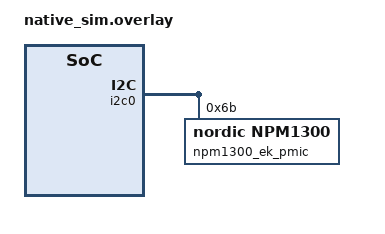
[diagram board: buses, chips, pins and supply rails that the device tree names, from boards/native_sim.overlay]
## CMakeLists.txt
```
# SPDX-License-Identifier: Apache-2.0

cmake_minimum_required(VERSION 3.20.0)

find_package(Zephyr REQUIRED HINTS $ENV{ZEPHYR_BASE})

project(sensor_pmic_tests)

target_include_directories(app PRIVATE 
    ${CMAKE_CURRENT_SOURCE_DIR}/../../../app/include
    ${CMAKE_CURRENT_SOURCE_DIR}/fakes
)

target_sources(app PRIVATE src/main.c
    ${CMAKE_CURRENT_SOURCE_DIR}/../../../app/src/sensor_pmic.c
    ${CMAKE_CURRENT_SOURCE_DIR}/fakes/sensor_led_fakes.c
)
```

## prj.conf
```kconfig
CONFIG_ZTEST=y
CONFIG_EMUL=y
CONFIG_LED=y
# CONFIG_CHARGER=y
CONFIG_SENSOR=y
CONFIG_I2C=y
CONFIG_I2C_EMUL=y
```

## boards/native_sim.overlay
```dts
/*
* Copyright (C) 2023 Nordic Semiconductor ASA
* SPDX-License-Identifier: Apache-2.0
*/

#include <dt-bindings/regulator/npm1300.h>
#include <zephyr/dt-bindings/input/input-event-codes.h>

&i2c0 {
    compatible = "zephyr,i2c-emul-controller";
    status = "okay";  // Enable the I2C1 interface
    // pinctrl-0 = <&i2c0_default>;
    // pinctrl-1 = <&i2c0_sleep>;
    // pinctrl-names = "default", "sleep";
    
    npm1300_ek_pmic: pmic@6b {

        compatible = "nordic,npm1300";
        // compatible = "vnd,emul-tester";

        reg = <0x6b>;
       
        long-press-reset = "one-button";
        // ship-to-active-time = <96>;

        npm1300_ek_gpio: gpio-controller {
            compatible = "nordic,npm1300-gpio";
            gpio-controller;
            #gpio-cells = <2>;
            ngpios = <5>;

            // npm1300_button: button {
            //     compatible = "gpio-keys";
            //     button0 {
            //         gpios = <&npm1300_ek_gpio 0 (GPIO_PULL_UP | GPIO_ACTIVE_LOW)>;
            //         label = "NPM1300 Button";
            //     };
            // };
        };

       npm1300_ek_regulators: regulators {
           compatible = "nordic,npm1300-regulator";

            npm1300_ek_buck1: BUCK1 {
                // regulator-min-microvolt = <1000000>;
                // regulator-max-microvolt = <3300000>;
                // regulator-init-microvolt =  <3000000>;
                // retention-microvolt = <1200000>;
                regulator-initial-mode = <NPM1300_BUCK_MODE_AUTO>;
                /delete-property/ enable-gpios;
                /delete-property/ retention-gpios;
                /delete-property/ pwm-gpios;
                /delete-property/ regulator-init-microvolt;
                regulator-boot-off;

            };

            npm1300_ek_buck2: BUCK2 {
                // regulator-min-microvolt = <1000000>;
                // regulator-max-microvolt = <3300000>;
                // regulator-init-microvolt =  <3300000>;
                // retention-microvolt = <1800000>;
                regulator-initial-mode = <NPM1300_BUCK_MODE_AUTO>;
                regulator-always-on;
                /delete-property/ enable-gpios;
                /delete-property/ retention-gpios;
                /delete-property/ pwm-gpios;
                /delete-property/ regulator-init-microvolt;

            };

            npm1300_ek_ldo1: LDO1 {
                // regulator-min-microvolt = <1000000>;
                // regulator-max-microvolt = <3300000>;
                // regulator-init-microvolt = <3300000>;
                regulator-initial-mode = <NPM1300_LDSW_MODE_LDO>;
                // soft-start-microamp = <10000>;
                /delete-property/ enable-gpios;
                /delete-property/ regulator-init-microvolt;
                regulator-boot-off;
            };

            npm1300_ek_ldo2: LDO2 {
                // regulator-min-microvolt = <1000000>;
                // regulator-max-microvolt = <3300000>;
                // regulator-init-microvolt = <3300000>;
                regulator-initial-mode = <NPM1300_LDSW_MODE_LDO>;
                // soft-start-microamp = <10000>;
                regulator-boot-off;
                /delete-property/ enable-gpios;
                /delete-property/ regulator-init-microvolt;
            };

       };
       
        npm1300_ek_charger: charger {
            compatible = "nordic,npm1300-charger";
            
            term-microvolt = <4200000>;
            term-warm-microvolt = <3600000>;
            // term-current-percent = <10>;
            current-microamp = <500000>;
            // trickle-microvolt = <2900000>;
            dischg-limit-microamp = <1000000>;
            vbus-limit-microamp = <500000>;
            thermistor-ohms = <10000>;
            thermistor-beta = <3380>;
        };
       
        npm1300_ek_leds: leds {
            compatible = "nordic,npm1300-led";
            // compatible = "vnd,emul-tester";
            nordic,led0-mode = "error";    
            nordic,led1-mode = "charging";    
            nordic,led2-mode = "host";
        };
   };
};
```

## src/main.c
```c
#include <zephyr/ztest.h>
#include <zephyr/logging/log.h>
#include "sensor_pmic.h"
#include "sensor_led_fakes.h"

LOG_MODULE_REGISTER(tests_pmic, LOG_LEVEL_INF);

// Create mock operations with wrapper functions
sensor_pmic_ops_t mock_ops = {
    .led_on = led_on_wrapper,
    .led_off = led_off_wrapper,
    .device_is_ready = device_is_ready_wrapper,
    .sensor_status_get = sensor_status_get_wrapper
};

ZTEST_SUITE(pmic, NULL, NULL, NULL, NULL, NULL);

/**
 * @brief Test that the PMIC can be initialized
 * 
 */
ZTEST(pmic, test_pmic_init)
{

    int ret = sensor_pmic_init_with_ops(&mock_ops);
    zassert_ok(ret, "Failed to initialize PMIC");
}

/**
 * @brief Test that the PMIC can turn on the LED
 * 
 */
ZTEST(pmic, test_pmic_led_on)
{
    int ret = sensor_pmic_init_with_ops(&mock_ops);
    zassert_ok(ret, "Failed to initialize PMIC");

    ret = sensor_pmic_led_on();
    zassert_ok(ret, "Failed to turn on LED");
}

/**
 * @brief Test that the PMIC can turn off the LED
 * 
 */
ZTEST(pmic, test_pmic_led_off)
{
    int ret = sensor_pmic_init_with_ops(&mock_ops);
    zassert_ok(ret, "Failed to initialize PMIC");

    ret = sensor_pmic_led_off();
    zassert_ok(ret, "Failed to turn off LED");
}

ZTEST(pmic, test_pmic_sensor_attr_get)
{
    int ret = sensor_pmic_init_with_ops(&mock_ops);
    zassert_ok(ret, "Failed to initialize PMIC");

}
```
